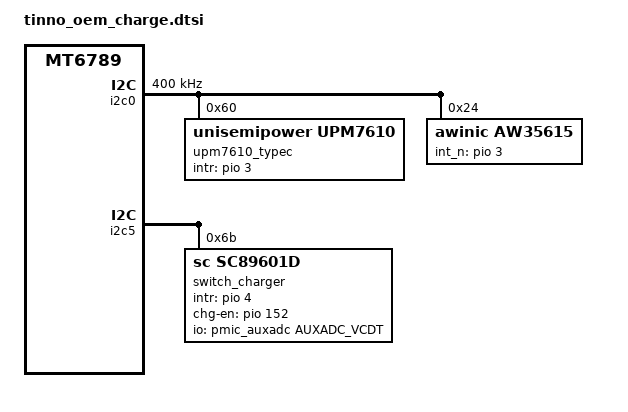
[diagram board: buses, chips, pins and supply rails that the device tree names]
#include <dt-bindings/iio/mt635x-auxadc.h>
&i2c0 {
	clock-frequency = <400000>;

	upm7610_typec: upm7610@60 {
		compatible = "unisemipower,upm7610";
		reg = <0x60>;
		status = "okay";
		up-tcpc,name = "type_c_port0"; /* tcpc_device's name */
		up-tcpc,role-def = <5>; /* 0: Unknown, 1: SNK, 2: SRC */
					/* 3: DRP, 4: Try.SRC, 5: Try.SNK */
		up-tcpc,rp-level = <0>; /* 0: Default, 1: 1.5, 2: 3.0 */
		up-tcpc,vconn-supply = <1>;  /* 0: Never, 1: Always, */
					     /* 2: EMarkOnly, 3: StartOnly */
		up-tcpc,disable_pe = <1>;
		upm7610pd,intr-gpio = <&pio 3 0x0>;
		upm7610pd,intr-gpio-num = <3>;
		/* charger = <&mt6375_chg>; */
		pd-data {
			pd,vid = <0x362f>;
			pd,pid = <0x7610>;
			pd,source-cap-ext = /bits/ 8 <0xcf 0x29 0x11 0x17
						      0x00 0x00 0x00 0x00
						      0x00 0x00 0x00 0x00
						      0x00 0x00 0x00 0x00
						      0x00 0x00 0x00 0x00
						      0x00 0x00 0x01 0x02
						      0x00>;
			pd,sink-cap-ext = /bits/ 8 <0xcf 0x29 0x11 0x17
						    0x00 0x00 0x00 0x00
						    0x00 0x00 0x01 0x00
						    0x00 0x00 0x00 0x00
						    0x01 0x0b 0x01 0x0a
						    0x0a 0x00 0x00 0x00>;
			pd,mfrs = "UnisemipowerTCPC";

			/*
			 *	VSAFE5V = 0, MAX_POWER = 1, CUSTOM = 2,
			 *	MAX_POWER_LV = 0x21, MAX_POWER_LVIC = 0x31
			 *	MAX_POWER_HV = 0x41, MAX_POWER_HVIC = 0x51
			 */
			pd,charging-policy = <0x31>;

			/*
			 * Fixed 5V, 500 mA <0x00019032>
			 * Fixed 5V, 1A <0x00019064>
			 * Fixed 5V, 2A <0x000190c8>
			 * Fixed 5V, 3A <0x0001912c>
			 * Fixed 9V, 500 mA <0x0002d032>
			 * Fixed 9V, 1A <0x0002d064>
			 * Fixed 9V, 2A <0x0002d0c8>
			 * Fixed 9V, 3A <0x0002d12c>
			 * Variable 5-9V, 1A <0x8642d064>
			 * Variable 5-9V, 2A <0x8642d0c8>
			 * Variable 5-9V, 3A <0x8642d12c>
			 */
			pd,source-pdo-size = <1>;
			pd,source-pdo-data = <0x00019032>;
			pd,sink-pdo-size = <1>;
			pd,sink-pdo-data = <0x000190c8>;

			/*
			 * No DP, host + device
			 *	pd,id-vdo-size = <6>;
			 *	pd,id-vdo-data = <0xd14029cf 0x0 0x17110000
						  0x61000000 0x0 0x41000000>;
			 * With DP Sink capability
			 *	pd,id-vdo-size = <6>;
			 *	pd,id-vdo-data = <0xd54029cf 0x0 0x17110000
						  0x61000000 0x0 0x41000000>;
			 */

			pd,id-vdo-size = <6>;
			pd,id-vdo-data = <0xd140362f 0x0 0x76100000
					  0x61000000 0x0 0x41000000>;

			bat,nr = <1>;
			pd,country-nr = <0>;

			bat-info0 {
				bat,vid = <0x362f>;
				bat,pid = <0x7610>;
				bat,mfrs = "bat1";
				bat,design-cap = <3000>;
			};
		};
		dpm-caps {
			local-dr-power;
			local-dr-data;
			// local-ext-power;
			local-usb-comm;
			// local-usb-suspend;
			// local-high-cap;
			// local-give-back;
			local-no-suspend;

			/* With DP Source capability */
			// attempt-enter-dp-mode;
			// attempt-discover-cable;
			// attempt-discover-id;
			// attempt-discover-svids;

			/* 0: disable, 1: prefer-snk, 2: prefer-src */
			pr-check = <0>;
			// pr-reject-as-source;
			// pr-reject-as-sink;
			// pr-check-gp-source;
			// pr-check-gp-sink;

			/* 0: disable, 1: prefer-ufp, 2: prefer-dfp */
			dr-check = <0>;
			// dr-reject-as-dfp;
			// dr-reject-as-ufp;
		};
		displayport {
			/* connection type = "both", "ufp-d", "dfp-d" */
			1st-connection = "dfp-d";
			2nd-connection = "dfp-d";
			// usbr20-not-used;
			typec,receptacle;
			ufp-d {
				// pin-assignment,mode-c;
				// pin-assignment,mode-d;
				// pin-assignment,mode-e;
			};
			dfp-d {
				pin-assignment,mode-c;
				pin-assignment,mode-d;
				pin-assignment,mode-e;
			};
		};
	};

	aw35615@24 {
		compatible = "awinic,aw35615";
		reg = <0x24>;
		awinic,int_n = <&pio 3 0>;
		aw35615,port_id = <0>;
		aw35615,snk_pdo_size = <1>; /* set sink pdo num*/
		aw35615,snk_pdo_vol = <5000>; /* set sink pdo voltage mV*/
		aw35615,snk_pdo_cur = <2000>; /* set sink pdo current mA*/
		aw35615,snk_pps_size = <0>; /* set sink pps num*/
		aw35615,snk_pps_vol = <0>; /* set sink pps voltage mV*/
		aw35615,snk_pps_cur = <0>; /* set sink pps current mA*/
		aw35615,src_pdo_size = <1>; /* set source pdo num*/
		aw35615,src_pdo_vol = <5000>; /* set source pdo voltage mV*/
		aw35615,src_pdo_cur = <1000>; /* set source pdo current mA*/
		aw35615,src_pps_size = <0>; /* set sink pps num*/
		aw35615,src_pps_vol = <0>; /* set sink pps voltage mV*/
		aw35615,src_pps_cur = <0>; /* set sink pps current mA*/
		aw35615,snk_tog_time = <0x36>; /* set toggle sink time */
		aw35615,src_tog_time = <0x36>; /* set toggle source time */
		aw35615,cc1_ov_th = <0x1>; /* set cc1 ov threshold */
		aw35615,cc2_ov_th = <0x1>; /* set cc2 ov threshold */
		aw35615,lpd_tim_set = <0xf>; /* set the LPD sensitivity */
		aw35615,usb_pd_enable = <0>;  /* 1:enable, 0:disable */
		status = "okay";
	};
};

&i2c5 {
	switch_charger: charger@6B {
		compatible = "sc,sc89601d", "cx,cx2560x_charger";
		reg = <0x6B>;
		status = "okay";

		/* sc8960x params */
		sc8960x,intr-gpio = <&pio 4 IRQ_TYPE_EDGE_FALLING>;
		sc8960x,charger_name = "primary_chg";
		sc8960x,pfm-dis = <0>;           /*0: enable, 1: disable*/
		sc8960x,vsys-min = <5>;          /*0: 2.6V, 1: 2.8V, 2: 3.0V, 3: 3.2V, 4: 3.4V,
						   5: 3.5V, 6: 3.6V, 7: 3.7V*/
		sc8960x,vbat-low-otg = <0>;      /*0: 2.8V, 1: 2.5V*/
		sc8960x,ipre-chg = <11>;          /*60 + val * 60, unit:mA*/
		sc8960x,itermination = <2>;      /*60 + val * 60, unit:mA*/
		sc8960x,vbat-volt = <69>;        /*3848 + val * 8, unit:mV*/
		sc8960x,top-off-timer = <0>;     /*0: dis, 1: 15min, 2: 20min 3: 45min*/
		sc8960x,vrechg-volt = <0>;       /*0: 100mV, 1: 200mV*/
		sc8960x,en-termination = <1>;    /*0: disable, 1: enable*/
		sc8960x,wdt-timer = <0>;         /*0: disable, 1: 40s, 2: 80s, 3: 160s*/
		sc8960x,en-chg-saft-timer = <0>; /*0: disable, 1: enable*/
		sc8960x,charge-timer = <1>;      /*0: 5hrs, 1: 10hrs*/
		sc8960x,vac-ovp = <1>;           /*0: 5.8V, 1: 6.4V, 2: 11V, 3: 14.2V*/
		sc8960x,iboost = <1>;            /*0: 0.5A, 1: 1.2A*/
		sc8960x,vboost = <12>;           /*3900 + val * 100, unit:mV*/
		sc8960x,vindpm-track = <0>;      /*0: disable, 1:200mV, 2:250mV, 3:300mV*/
		sc8960x,vindpm-int-mask = <1>;   /*0: not mask, 1: mask*/
		sc8960x,iindpm-int-mask = <1>;   /*0: not mask, 1: mask*/
		sc8960x,vpre-to-cc = <0>;        /*0: 3V, 1: 2.8V*/
		sc8960x,auto-dpdm-en = <0>;      /*0: disable, 1: enable*/
		sc8960x,ntc-pin-dis = <1>;       /*0: enable, 1: disable*/
		sc8960x,support-otgcc-2A = <1>;  /*0: disable, 1: enable*/
		sc8960x,en-hvdcp = <0>;          /*0: disable, 1: enable*/

		/* cx2560x params */
		cx,intr_gpio = <&pio 4 0x0>; /* GPIO */
		cx,chg-en-gpio = <&pio 152 0x0>;
		cx,iprechg = <676>;        /*Offset: 52mA, Default: 156mA, Max: 676mA*/
		cx,iterm = <240>;    /*Offset: 60mA, Default: 180mA, Max: 786mA*/
		cx,vrechg-volt = <100>;     /*0: 100mV, 1: 200mV*/
		cx,en-chg-saft-timer = <0>; /*0: disable, 1: enable*/
		chg_name = "primary_chg";

		/* pmic vbus */
		io-channels = <&pmic_auxadc AUXADC_VCDT>;
		io-channel-names = "pmic_vbus";
	};

};

&lk_charger {
	compatible = "mediatek,lk_charger";
	enable-anime;
	/* enable-pe-plus; */
	enable-pd20-reset;
	power-path-support;
	max-charger-voltage = <6500000>;
	fast-charge-voltage = <3000000>;

	/* charging current */
	usb-charger-current = <500000>;
	ac-charger-current = <1500000>;
	ac-charger-input-current = <3200000>;
	non-std-ac-charger-current = <500000>;
	charging-host-charger-current = <1500000>;
	ta-ac-charger-current = <3000000>;
	pd-charger-current = <500000>;

	/* battery temperature protection */
	temp-t4-threshold = <55>;
	temp-t3-threshold = <45>;
	temp-t1-threshold = <0>;

	/* enable check vsys voltage */
	enable-check-vsys;
};

&charger {
	algorithm-name = "Basic";
	charger-configuration= <0>;

	/* common */
	battery-cv = <4400000>;
	max-charger-voltage = <6500000>;
	min-charger-voltage = <4600000>;

	/* sw jeita */
	/* enable-vbat-mon = <1>; */
	enable-sw-jeita;
	jeita-temp-above-t4-cv = <4100000>;
	jeita-temp-t3-to-t4-cv = <4100000>;
	jeita-temp-t2-to-t3-cv = <4400000>;
	jeita-temp-t1-to-t2-cv = <4400000>;
	jeita-temp-t0-to-t1-cv = <4400000>;
	jeita-temp-below-t0-cv = <4400000>;

	jeita-temp-above-t4-cc = <0>;
	jeita-temp-t3-to-t4-cc = <2000000>;
	jeita-temp-t2-to-t3-cc = <2000000>;
	jeita-temp-t1-to-t2-cc = <1500000>;
	jeita-temp-t0-to-t1-cc = <0>;
	jeita-temp-below-t0-cc = <0>;

	temp-t4-thres = <55>;
	temp-t4-thres-minus-x-degree = <53>;
	temp-t3-thres = <45>;
	temp-t3-thres-minus-x-degree = <43>;
	temp-t2-thres = <15>;
	temp-t2-thres-plus-x-degree = <17>;
	temp-t1-thres = <0>;
	temp-t1-thres-plus-x-degree = <2>;
	temp-t0-thres = <0>;
	temp-t0-thres-plus-x-degree = <2>;
	temp-neg-10-thres = <0>;

	/* battery temperature protection */
	enable-min-charge-temp;
	min-charge-temp = <0>;
	min-charge-temp-plus-x-degree = <2>;
	max-charge-temp = <55>;
	max-charge-temp-minus-x-degree = <53>;

	/* charging current */
	usb-charger-current = <500000>;
	ac-charger-current = <2000000>;
	ac-charger-input-current = <2300000>;
	charging-host-charger-current = <1500000>;

	/* dynamic mivr */
	enable-dynamic-mivr;
	min-charger-voltage-1 = <4400000>;
	min-charger-voltage-2 = <4200000>;
	max-dmivr-charger-current = <1800000>;

	/* fast charging algo support indicator */
	enable-fast-charging-indicator;
};

&u2port0 {
	mediatek,eye-vrt = <6>;  //Device
	mediatek,eye-term = <6>;
	mediatek,rev6 = <3>;

	mediatek,eye-vrt-host = <3>;  //Host
	mediatek,eye-term-host = <3>;
	mediatek,rev6-host = <3>;
};

#include "mediatek/bat_setting/T405A/mt6789_battery_prop.dtsi"
